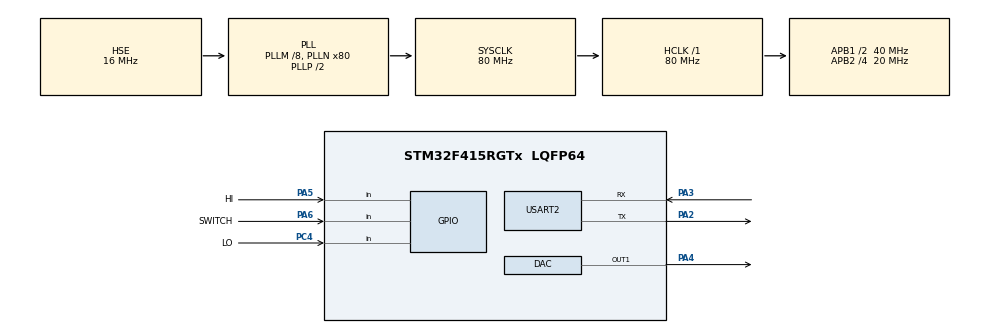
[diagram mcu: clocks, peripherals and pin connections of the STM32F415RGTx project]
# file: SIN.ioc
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DAC.DAC_Trigger=DAC_TRIGGER_T2_TRGO
Dma.DAC1.0.Direction=DMA_MEMORY_TO_PERIPH
Dma.DAC1.0.FIFOMode=DMA_FIFOMODE_DISABLE
Dma.DAC1.0.Instance=DMA1_Stream5
Dma.DAC1.0.MemDataAlignment=DMA_MDATAALIGN_WORD
Dma.DAC1.0.MemInc=DMA_MINC_ENABLE
Dma.DAC1.0.Mode=DMA_CIRCULAR
Dma.DAC1.0.PeriphDataAlignment=DMA_PDATAALIGN_WORD
Dma.DAC1.0.PeriphInc=DMA_PINC_DISABLE
Dma.DAC1.0.Priority=DMA_PRIORITY_HIGH
Dma.Request0=DAC1
Mcu.Family=STM32F4
Mcu.Name=STM32F415RGTx
Mcu.Package=LQFP64
NVIC.DMA1_Stream5_IRQn=true\:0\:0\:false\:false\:true\:false\:true
NVIC.PriorityGroup=NVIC_PRIORITYGROUP_4
NVIC.TIM2_IRQn=true\:0\:0\:false\:false\:true\:true\:true
NVIC.USART2_IRQn=true\:0\:0\:false\:false\:true\:true\:true
PA13.Mode=Serial_Wire
PA13.Signal=SYS_JTMS-SWDIO
PA14.Mode=Serial_Wire
PA14.Signal=SYS_JTCK-SWCLK
PA2.Mode=Asynchronous
PA2.Signal=USART2_TX
PA3.Mode=Asynchronous
PA3.Signal=USART2_RX
PA4.Signal=COMP_DAC1_group
PA5.GPIO_Label=HI
PA5.GPIO_PuPd=GPIO_PULLUP
PA5.Signal=GPIO_Input
PA6.GPIO_Label=SWITCH
PA6.GPIO_PuPd=GPIO_PULLUP
PA6.Signal=GPIO_Input
PC4.GPIO_Label=LO
PC4.GPIO_PuPd=GPIO_PULLUP
PC4.Signal=GPIO_Input
PH0-OSC_IN.Mode=HSE-External-Oscillator
PH0-OSC_IN.Signal=RCC_OSC_IN
PH1-OSC_OUT.Mode=HSE-External-Oscillator
PH1-OSC_OUT.Signal=RCC_OSC_OUT
ProjectManager.HeapSize=0x200
ProjectManager.StackSize=0x400
ProjectManager.TargetToolchain=STM32CubeIDE
RCC.48MHZClocksFreq_Value=40000000
RCC.AHBFreq_Value=80000000
RCC.APB1CLKDivider=RCC_HCLK_DIV2
RCC.APB1Freq_Value=40000000
RCC.APB1TimFreq_Value=80000000
RCC.APB2CLKDivider=RCC_HCLK_DIV4
RCC.APB2Freq_Value=20000000
RCC.APB2TimFreq_Value=40000000
RCC.CortexFreq_Value=80000000
RCC.HCLKFreq_Value=80000000
RCC.HSE_VALUE=16000000
RCC.HSI_VALUE=16000000
RCC.LSE_VALUE=32768
RCC.PLLM=8
RCC.PLLN=80
RCC.PLLSourceVirtual=RCC_PLLSOURCE_HSE
RCC.SYSCLKFreq_VALUE=80000000
RCC.SYSCLKSource=RCC_SYSCLKSOURCE_PLLCLK
RCC.VCOOutputFreq_Value=160000000
SH.COMP_DAC1_group.0=DAC_OUT1,DAC_OUT1
TIM2.CounterMode=TIM_COUNTERMODE_UP
TIM2.Period=39
TIM2.TIM_MasterOutputTrigger=TIM_TRGO_UPDATE
USART2.VirtualMode=VM_ASYNC
VP_TIM2_VS_ClockSourceINT.Mode=Internal
board=custom

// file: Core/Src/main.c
/* USER CODE BEGIN Header */
/**
  ******************************************************************************
  * @file           : main.c
  * @brief          : Main program body
  ******************************************************************************
  * @attention
  *
  * <h2><center>&copy; Copyright (c) 2022 STMicroelectronics.
  * All rights reserved.</center></h2>
  *
  * This software component is licensed by ST under BSD 3-Clause license,
  * the "License"; You may not use this file except in compliance with the
  * License. You may obtain a copy of the License at:
  *                        opensource.org/licenses/BSD-3-Clause
  *
  ******************************************************************************
  */
/* USER CODE END Header */
#include "main.h"

/* USER CODE BEGIN Includes */
#include "usart_ring.h"
/* USER CODE END Includes */

/* USER CODE BEGIN PD */
#define NS 128;
/* USER CODE END PD */

DAC_HandleTypeDef hdac;
DMA_HandleTypeDef hdma_dac1;

TIM_HandleTypeDef htim2;

UART_HandleTypeDef huart2;

/* USER CODE BEGIN PV */
uint32_t Wave_LUT[128] = {
	2048, 2149, 2250, 2350, 2450, 2549, 2646, 2742, 2837, 2929, 3020, 3108, 3193, 3275, 3355, 3431,
	3504, 3574, 3639, 3701, 3759, 3812, 3861, 3906, 3946, 3982, 4013, 4039, 4060, 4076, 4087, 4094,
	4095, 4091, 4082, 4069, 4050, 4026, 3998, 3965, 3927, 3884, 3837, 3786, 3730, 3671, 3607, 3539,
	3468, 3394, 3316, 3235, 3151, 3064, 2975, 2883, 2790, 2695, 2598, 2500, 2400, 2300, 2199, 2098,
	1997, 1896, 1795, 1695, 1595, 1497, 1400, 1305, 1212, 1120, 1031, 944, 860, 779, 701, 627,
	556, 488, 424, 365, 309, 258, 211, 168, 130, 97, 69, 45, 26, 13, 4, 0,
	1, 8, 19, 35, 56, 82, 113, 149, 189, 234, 283, 336, 394, 456, 521, 591,
	664, 740, 820, 902, 987, 1075, 1166, 1258, 1353, 1449, 1546, 1645, 1745, 1845, 1946, 2047
};
uint8_t period = 40;
uint32_t counter = 0;
uint16_t i = 0;
/*uint8_t serial[16] = {1, 1, 1, 0, 1, 0, 1, 0, 1, 0, 1, 0, 1, 0, 1, 0};*/
uint8_t serial[16] = {0,};
char a, b, c;
uint8_t buf[10] = {1,1,1,1,1,1,1,1,1,1};
uint8_t str[32];

/* USER CODE END PV */

void SystemClock_Config(void);
static void MX_GPIO_Init(void);
static void MX_DMA_Init(void);
static void MX_DAC_Init(void);
static void MX_TIM2_Init(void);
static void MX_USART2_UART_Init(void);
/* USER CODE BEGIN PFP */
void DWT_Init(void)
{
    SCB_DEMCR |= CoreDebug_DEMCR_TRCENA_Msk; // разрешаем использовать счётчик
    DWT_CONTROL |= DWT_CTRL_CYCCNTENA_Msk;   // запускаем счётчик
}

void delay_micros(uint32_t us)
{
    uint32_t us_count_tic =  us * (SystemCoreClock / 1000000); // получаем кол-во тактов за 1 мкс и умножаем на наше значение
    DWT->CYCCNT = 0U; // обнуляем счётчик
    while(DWT->CYCCNT < us_count_tic);
}
/* USER CODE END PFP */

int main(void)
{

  /* MCU Configuration--------------------------------------------------------*/

  /* Reset of all peripherals, Initializes the Flash interface and the Systick. */
  HAL_Init();

  /* Configure the system clock */
  SystemClock_Config();

  /* Initialize all configured peripherals */
  MX_GPIO_Init();
  MX_DMA_Init();
  MX_DAC_Init();
  MX_TIM2_Init();
  MX_USART2_UART_Init();
  /* USER CODE BEGIN 2 */
  /*HAL_DAC_Start(&hdac, DAC_CHANNEL_1);
  DWT_Init();*/
 HAL_DAC_Start_DMA(&hdac, DAC_CHANNEL_1, (uint32_t*)Wave_LUT, 128, DAC_ALIGN_12B_R);
 HAL_TIM_Base_Start(&htim2);

//  HAL_DAC_Stop_DMA(&hdac, DAC_CHANNEL_1);
  //	 	                        HAL_TIM_Base_Stop(&htim2);

  __HAL_UART_ENABLE_IT(&MYUART, UART_IT_RXNE); // включить прерывания usart'

  /* USER CODE END 2 */

  /* Infinite loop */
  /* USER CODE BEGIN WHILE */
  while (1)
  {

	 if(uart_available()) // есть ли что-то в приёмном буфере, тогда читаем
	            {
	                    char str[SIZE_BF] = {0,};
	                    uint8_t i = 0;

	                    while(uart_available())
	                    {
	                            str[i++] = uart_read(); // читаем байт

	                            if(i == SIZE_BF - 1)
	                            {
	                                   // str[i] = '\0';
	                                    break;
	                            }

	                            HAL_Delay(2);
	                    }

	                   // str[i] = '\0';
	                   a = str[0];
	                   b = str[1];
                       c = str[2];

	                    if((a =='i') && (b =='d'))
	                    		{
	                    HAL_UART_Transmit(&MYUART, (uint8_t*)str, strlen(str), 100); // отправляем обратно что получили

	                    switch(c)
	                    {
	                    case 'a':
	                 buf[0] = 0;//стартовый бит
	                 buf[1] = 0;
	                 buf[2] = 1;
	                 buf[3] = 1;
	                 buf[4] = 0;
	                 buf[5] = 0;
	                 buf[6] = 0;
	                 buf[7] = 0;
	                 buf[8] = 1;
	                 buf[9] = 1;//стоповый бит

	                    break;
	                    case 'b':
	                // buf[8] = {0,1,1,0,0,0,1,0};
	                 buf[0] = 0; //стартовый бит
	                 buf[1] = 0;
	                 buf[2] = 1;
	                 buf[3] = 1;
	                 buf[4] = 0;
	                 buf[5] = 0;
	                 buf[6] = 0;
	                 buf[7] = 1;
	                 buf[8] = 0;
	                 buf[9] = 1;//стоповый бит

	                  	break;
	                    case 'c':
	                    // buf[8] = {0,1,1,0,0,0,1,1};
	                  buf[0] = 0;  //стартовый бит
	                  buf[1] = 0;
	                  buf[2] = 1;
	                  buf[3] = 1;
	                  buf[4] = 0;
	                  buf[5] = 0;
	                  buf[6] = 0;
	                  buf[7] = 1;
	                  buf[8] = 1;
	                  buf[9] = 1;//стоповый бит
	                   	 break;
	                    case 's':
	                  // buf[8] = {0,1,1,0,0,0,1,1};
	                  buf[0] = 0; //стартовый бит
	                  buf[1] = 0;
	                  buf[2] = 0;
	                  buf[3] = 0;
	                  buf[4] = 0;
	                  buf[5] = 0;
	                  buf[6] = 0;
	                  buf[7] = 0;
	                  buf[8] = 0;
	                  buf[9] = 1;//стоповый бит
	                  break;

	                    }///switch
	                    }////if id
	            }///if available

	      for(uint8_t i = 0; i < 10; i++)
	 	                   {
	 	                    if(buf[i] == 0)
	 	                    {

	 	                    	HAL_DAC_Stop_DMA(&hdac, DAC_CHANNEL_1);
	 	                        HAL_TIM_Base_Stop(&htim2);
	 	                        HAL_Delay(1);
	 	                    }
	 	                    else
	 	                    {
	 	                       HAL_DAC_Start_DMA(&hdac, DAC_CHANNEL_1, (uint32_t*)Wave_LUT, 128, DAC_ALIGN_12B_R);
	 	                       HAL_TIM_Base_Start(&htim2);
	 	                      HAL_Delay(1);
	 	                    }//
	 	                   } //for
	                                   HAL_DAC_Start_DMA(&hdac, DAC_CHANNEL_1, (uint32_t*)Wave_LUT, 128, DAC_ALIGN_12B_R);
	     	 	                       HAL_TIM_Base_Start(&htim2);

	     	 	                       HAL_Delay(10);

	 	              //     if (counter == 12800-1)
	 	                ///  	  {
	 	                  	//	  i++;
	 	                  		//  counter = 0;
	 	                  	//  }
	 	                  	 // if (i == 7)
	 	                  	 // {
	 	                  		//  i = 0;
	 	                  	  //}
	 	                  	 // counter++;

	 	                  //  }////for

	//  HAL_UART_Receive_IT(&huart2, (uint8_t*)serial, 15);
	  //HAL_UART_Transmit(&huart2, (uint8_t*)serial, 15, 100);
	  /*if (serial[i] == 0)
	  {
		  HAL_DAC_Stop_DMA(&hdac, DAC_CHANNEL_1);
		  htim2.Instance->CR1 &= ~TIM_CR1_CEN;
	  }
	  else
	  {
		  HAL_DAC_Start_DMA(&hdac, DAC_CHANNEL_1, (uint32_t*)Wave_LUT, 128, DAC_ALIGN_12B_R);
		  htim2.Instance->CR1 |= TIM_CR1_CEN;
	  }

	  if (counter == 12800-1)
	  {
		  i++;
		  counter = 0;
	  }
	  if (i == 15)
	  {
		  i = 0;
	  }
	  counter++;*/

	 if (HAL_GPIO_ReadPin(LO_GPIO_Port,LO_Pin)==0) //Нажатие кнопки понижения частоты
	 {
		  period++;
		 TIM2->CNT = 0;
		  __HAL_TIM_SET_AUTORELOAD(&htim2, period);
		  HAL_Delay(200);
		  snprintf(str, 32, "Period %d\n", period);
		  HAL_UART_Transmit(&huart2, (uint8_t*)str, 32, 100);
	  }
	  if (HAL_GPIO_ReadPin(HI_GPIO_Port,HI_Pin)==0) //Нажатие кнопки повышения частоты
	  {
		  period--;
		  TIM2->CNT = 0;
		  __HAL_TIM_SET_AUTORELOAD(&htim2, period);
		  HAL_Delay(200);
		  snprintf(str, 32, "Period %d\n", period);
		  HAL_UART_Transmit(&huart2, (uint8_t*)str, 32, 100);
	 }
    /* USER CODE END WHILE */

  }
}

void SystemClock_Config(void)
{
  RCC_OscInitTypeDef RCC_OscInitStruct = {0};
  RCC_ClkInitTypeDef RCC_ClkInitStruct = {0};

  /** Configure the main internal regulator output voltage
  */
  __HAL_RCC_PWR_CLK_ENABLE();
  __HAL_PWR_VOLTAGESCALING_CONFIG(PWR_REGULATOR_VOLTAGE_SCALE1);
  /** Initializes the RCC Oscillators according to the specified parameters
  * in the RCC_OscInitTypeDef structure.
  */
  RCC_OscInitStruct.OscillatorType = RCC_OSCILLATORTYPE_HSE;
  RCC_OscInitStruct.HSEState = RCC_HSE_ON;
  RCC_OscInitStruct.PLL.PLLState = RCC_PLL_ON;
  RCC_OscInitStruct.PLL.PLLSource = RCC_PLLSOURCE_HSE;
  RCC_OscInitStruct.PLL.PLLM = 8;
  RCC_OscInitStruct.PLL.PLLN = 80;
  RCC_OscInitStruct.PLL.PLLP = RCC_PLLP_DIV2;
  RCC_OscInitStruct.PLL.PLLQ = 4;
  if (HAL_RCC_OscConfig(&RCC_OscInitStruct) != HAL_OK)
  {
    Error_Handler();
  }
  /** Initializes the CPU, AHB and APB buses clocks
  */
  RCC_ClkInitStruct.ClockType = RCC_CLOCKTYPE_HCLK|RCC_CLOCKTYPE_SYSCLK
                              |RCC_CLOCKTYPE_PCLK1|RCC_CLOCKTYPE_PCLK2;
  RCC_ClkInitStruct.SYSCLKSource = RCC_SYSCLKSOURCE_PLLCLK;
  RCC_ClkInitStruct.AHBCLKDivider = RCC_SYSCLK_DIV1;
  RCC_ClkInitStruct.APB1CLKDivider = RCC_HCLK_DIV2;
  RCC_ClkInitStruct.APB2CLKDivider = RCC_HCLK_DIV4;

  if (HAL_RCC_ClockConfig(&RCC_ClkInitStruct, FLASH_LATENCY_2) != HAL_OK)
  {
    Error_Handler();
  }
}

static void MX_DAC_Init(void)
{

  DAC_ChannelConfTypeDef sConfig = {0};

  /** DAC Initialization
  */
  hdac.Instance = DAC;
  if (HAL_DAC_Init(&hdac) != HAL_OK)
  {
    Error_Handler();
  }
  /** DAC channel OUT1 config
  */
  sConfig.DAC_Trigger = DAC_TRIGGER_T2_TRGO;
  sConfig.DAC_OutputBuffer = DAC_OUTPUTBUFFER_ENABLE;
  if (HAL_DAC_ConfigChannel(&hdac, &sConfig, DAC_CHANNEL_1) != HAL_OK)
  {
    Error_Handler();
  }

}

static void MX_TIM2_Init(void)
{

  TIM_ClockConfigTypeDef sClockSourceConfig = {0};
  TIM_MasterConfigTypeDef sMasterConfig = {0};

  htim2.Instance = TIM2;
  htim2.Init.Prescaler = 0;
  htim2.Init.CounterMode = TIM_COUNTERMODE_UP;
  htim2.Init.Period = 39;
  htim2.Init.ClockDivision = TIM_CLOCKDIVISION_DIV1;
  htim2.Init.AutoReloadPreload = TIM_AUTORELOAD_PRELOAD_DISABLE;
  if (HAL_TIM_Base_Init(&htim2) != HAL_OK)
  {
    Error_Handler();
  }
  sClockSourceConfig.ClockSource = TIM_CLOCKSOURCE_INTERNAL;
  if (HAL_TIM_ConfigClockSource(&htim2, &sClockSourceConfig) != HAL_OK)
  {
    Error_Handler();
  }
  sMasterConfig.MasterOutputTrigger = TIM_TRGO_UPDATE;
  sMasterConfig.MasterSlaveMode = TIM_MASTERSLAVEMODE_DISABLE;
  if (HAL_TIMEx_MasterConfigSynchronization(&htim2, &sMasterConfig) != HAL_OK)
  {
    Error_Handler();
  }

}

static void MX_USART2_UART_Init(void)
{

  huart2.Instance = USART2;
  huart2.Init.BaudRate = 115200;
  huart2.Init.WordLength = UART_WORDLENGTH_8B;
  huart2.Init.StopBits = UART_STOPBITS_1;
  huart2.Init.Parity = UART_PARITY_NONE;
  huart2.Init.Mode = UART_MODE_TX_RX;
  huart2.Init.HwFlowCtl = UART_HWCONTROL_NONE;
  huart2.Init.OverSampling = UART_OVERSAMPLING_16;
  if (HAL_UART_Init(&huart2) != HAL_OK)
  {
    Error_Handler();
  }

}

static void MX_DMA_Init(void)
{

  /* DMA controller clock enable */
  __HAL_RCC_DMA1_CLK_ENABLE();

  /* DMA interrupt init */
  /* DMA1_Stream5_IRQn interrupt configuration */
  HAL_NVIC_SetPriority(DMA1_Stream5_IRQn, 0, 0);
  HAL_NVIC_EnableIRQ(DMA1_Stream5_IRQn);

}

static void MX_GPIO_Init(void)
{
  GPIO_InitTypeDef GPIO_InitStruct = {0};

  /* GPIO Ports Clock Enable */
  __HAL_RCC_GPIOH_CLK_ENABLE();
  __HAL_RCC_GPIOA_CLK_ENABLE();
  __HAL_RCC_GPIOC_CLK_ENABLE();

  /*Configure GPIO pins : HI_Pin SWITCH_Pin */
  GPIO_InitStruct.Pin = HI_Pin|SWITCH_Pin;
  GPIO_InitStruct.Mode = GPIO_MODE_INPUT;
  GPIO_InitStruct.Pull = GPIO_PULLUP;
  HAL_GPIO_Init(GPIOA, &GPIO_InitStruct);

  /*Configure GPIO pin : LO_Pin */
  GPIO_InitStruct.Pin = LO_Pin;
  GPIO_InitStruct.Mode = GPIO_MODE_INPUT;
  GPIO_InitStruct.Pull = GPIO_PULLUP;
  HAL_GPIO_Init(LO_GPIO_Port, &GPIO_InitStruct);

}

void Error_Handler(void)
{
  __disable_irq();
  while (1)
  {
  }
}
